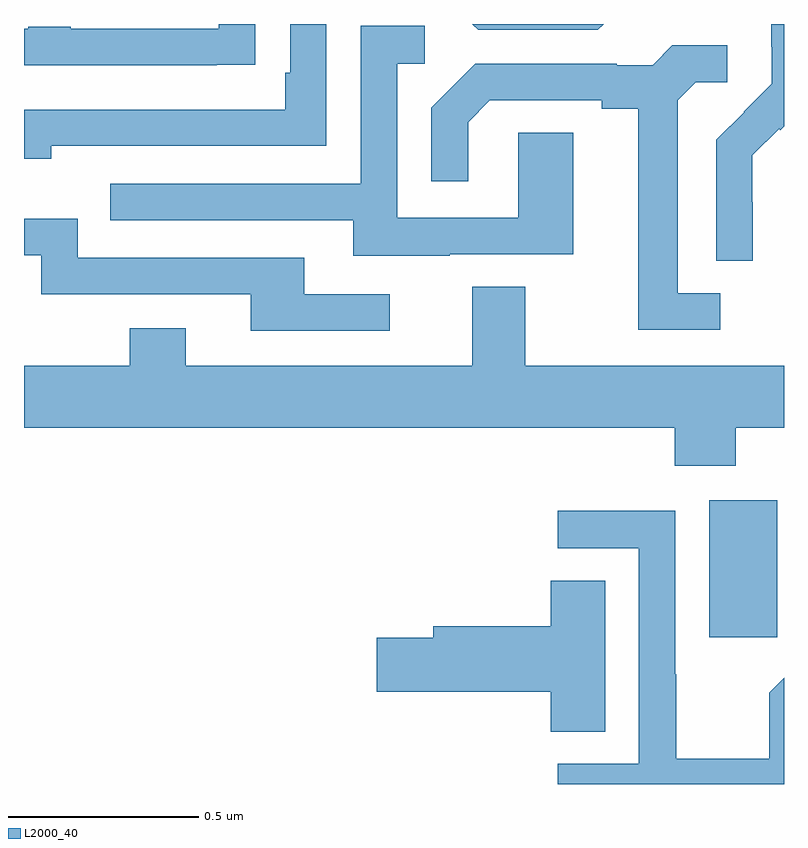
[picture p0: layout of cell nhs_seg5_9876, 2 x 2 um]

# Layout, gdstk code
import gdstk
lib = gdstk.Library(unit=1e-6, precision=1e-09)
def R(c, l, rs):  # rectangles x0, y0, x1, y1
    for r in rs: c.add(gdstk.rectangle(r[:2], r[2:], *l))
def P(c, l, *ps):  # polygons
    for p in ps: c.add(gdstk.Polygon(p, *l))
L2000_40 = (2000, 40)

nhs_seg5_9876 = lib.new_cell('nhs_seg5_9876')
R(nhs_seg5_9876, L2000_40, [(240.803,880.185,240.982,880.546)])
P(nhs_seg5_9876, L2000_40, [(239.072,881.478),(239.796,881.478),(239.796,881.799),(239.7,881.799),(239.7,881.671),(239.687,881.671),(239.687,881.574),(239,881.574),(239,881.444),(239.072,881.444)],
  [(240.525,881.799),(240.18,881.799),(240.195,881.784),(240.51,881.784)],
  [(240.918,881.33),(240.917,881.33),(240.917,881.453),(240.987,881.523),(240.99,881.52),(241,881.53),(241,881.799),(240.966,881.799),(240.966,881.739),(240.968,881.739),(240.968,881.642),(240.894,881.568),(240.895,881.567),(240.822,881.494),(240.822,881.176),(240.918,881.176)],
  [(239.507,881.692),(239.609,881.692),(239.609,881.799),(239.513,881.799),(239.513,881.787),(239.123,881.787),(239.123,881.792),(239.011,881.792),(239.011,881.787),(239,881.787),(239,881.691),(239.507,881.691)],
  [(240.121,881.193),(240.445,881.193),(240.445,881.513),(240.3,881.513),(240.3,881.289),(239.982,881.289),(239.982,881.694),(240.055,881.694),(240.055,881.795),(239.886,881.795),(239.886,881.379),(239.227,881.379),(239.227,881.283),(239.867,881.283),(239.867,881.189),(240.121,881.189)],
  [(240.832,881.091),(240.721,881.091),(240.721,881.599),(240.768,881.646),(240.85,881.646),(240.85,881.743),(240.706,881.743),(240.654,881.691),(240.56,881.691),(240.56,881.694),(240.188,881.694),(240.072,881.578),(240.072,881.385),(240.169,881.385),(240.169,881.541),(240.226,881.598),(240.521,881.598),(240.521,881.576),(240.617,881.576),(240.617,880.995),(240.832,880.995)],
  [(239.962,881.088),(239.737,881.088),(239.737,881.184),(239.142,881.184),(239.142,881.287),(239,881.287),(239,881.19),(239.046,881.19),(239.046,881.088),(239.597,881.088),(239.597,880.992),(239.962,880.992)],
  [(240.873,880.736),(241,880.736),(241,880.9),(240.319,880.9),(240.319,881.108),(240.179,881.108),(240.179,880.9),(239.425,880.9),(239.425,880.999),(239.278,880.999),(239.278,880.9),(239,880.9),(239,880.736),(240.713,880.736),(240.713,880.637),(240.873,880.637)],
  [(241,880.078),(240.961,880.039),(240.961,879.865),(240.717,879.865),(240.717,880.088),(240.714,880.088),(240.714,880.518),(240.405,880.518),(240.405,880.419),(240.618,880.419),(240.618,879.852),(240.405,879.852),(240.405,879.799),(241,879.799)],
  [(240.529,880.334),(240.386,880.334),(240.386,880.214),(240.077,880.214),(240.077,880.184),(239.928,880.184),(239.928,880.042),(240.386,880.042),(240.386,879.937),(240.529,879.937)])

lib.write_gds('nhs_seg5_9876.gds')
